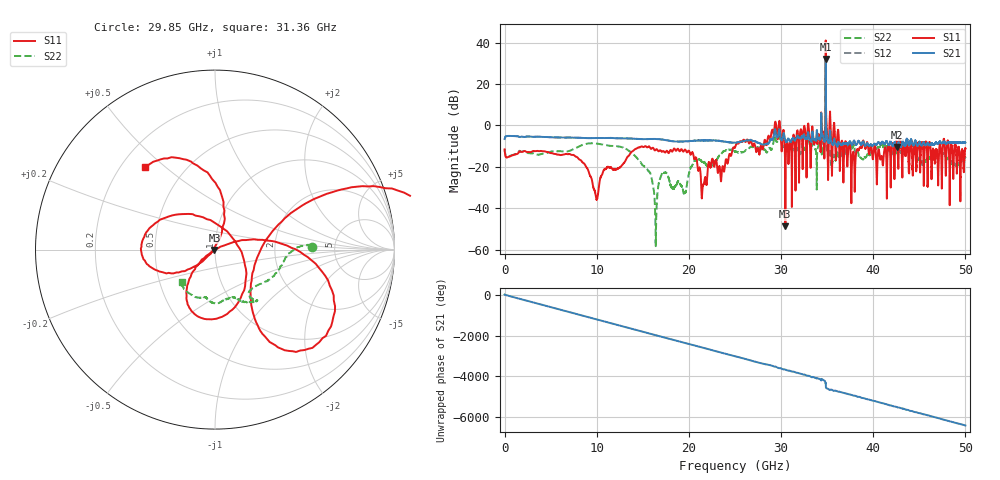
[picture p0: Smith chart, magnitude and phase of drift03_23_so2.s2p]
!Created with skrf (http://scikit-rf.org).
# Hz S RI R 50.0
!freq ReS11 ImS11 ReS21 ImS21 ReS12 ImS12 ReS22 ImS22
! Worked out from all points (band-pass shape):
!   10001 points, 300 kHz to 50 GHz, reference 50 ohm
!   highest |S21| = 32.10 dB at 34.85 GHz (marker M1); lowest = -10.4 dB at 42.55 GHz (marker M2)
!   |S21| within 3 dB of the highest: 34.84416 GHz to 34.84582 GHz (1.658 MHz wide, 0.00476 % of centre)
!   lowest |S11| = -48.7 dB at 30.47 GHz (marker M3), VSWR 1.01, Z = 49.7 - j0.236 ohm
!   |S11| at or under -10 dB: start of sweep to 15.23 GHz; 15.33 GHz to 25.05 GHz (9.727 GHz wide, 48.2 % of centre); 40.22 GHz to 41.62 GHz (1.403 GHz wide, 3.43 % of centre) (the widest 3 of 59)
!   |S22| runs from -58.2 to 23.1 dB; largest |S21 - S12| = 5.6
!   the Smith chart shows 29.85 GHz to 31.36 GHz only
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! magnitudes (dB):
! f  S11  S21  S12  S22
! 300 kHz  -11.5  -6.5  -6.5  -11.5
! 8.335 GHz  -17.1  -6.0  -6.0  -9.6
! 9.96 GHz  -35.5  -6.1  -6.1  -8.7
! 10.99 GHz  -20.9  -6.0  -6.0  -9.5
! 13.91 GHz  -12.4  -6.3  -6.3  -13.6
! 16.35 GHz  -12.0  -6.5  -6.5  -42.6
! 16.67 GHz  -12.4  -6.5  -6.5  -29.4
! 17.33 GHz  -12.7  -6.9  -6.9  -22.9
! 19.55 GHz  -11.7  -7.7  -7.7  -32.5
! 20.22 GHz  -13.9  -7.5  -7.5  -20.2
! 21.55 GHz  -28.5  -7.2  -7.2  -17.8
! 25 GHz  -10.6  -8.3  -8.2  -12.6
! 29.6 GHz  -5.5  -5.7  -5.9  -7.9
! 30.47 GHz  -48.7  -7.2  -7.2  -9.1
! 33.34 GHz  -3.9  -6.9  -6.8  -9.3
! 34.85 GHz  41.0  32.1  32.0  23.1
! 35.63 GHz  -6.6  -9.2  -9.1  -16.0
! 37.82 GHz  -12.7  -8.4  -8.4  -10.0
! 38.81 GHz  -9.3  -8.3  -8.3  -16.1
! 41.67 GHz  -9.6  -9.5  -9.4  -11.6
! 42.55 GHz  -8.3  -10.4  -10.4  -13.2
! 50 GHz  -11.1  -8.2  -8.2  -15.4
